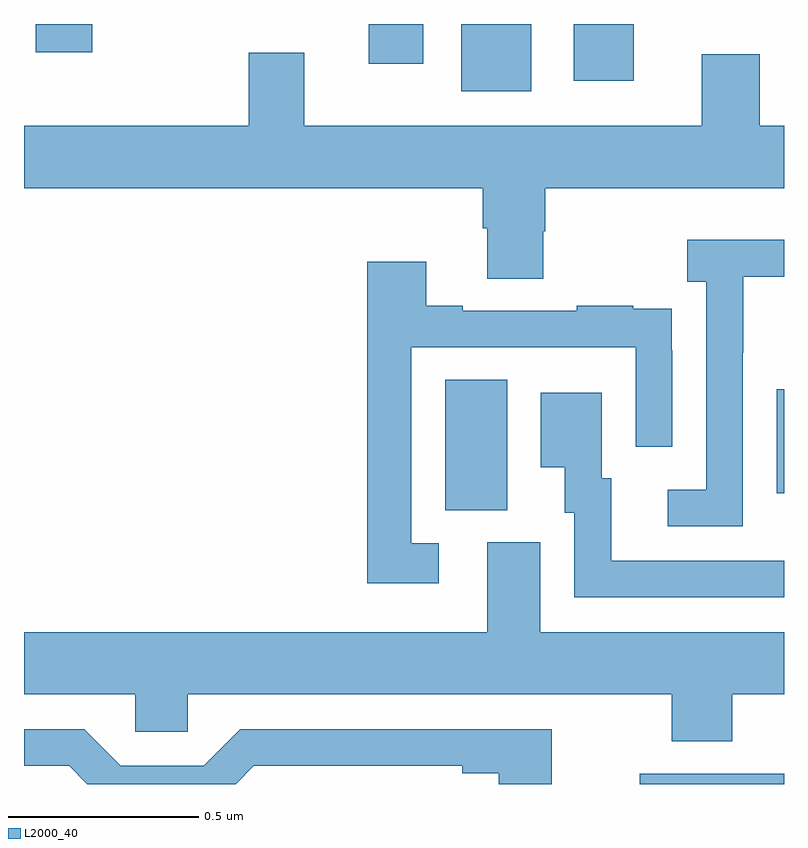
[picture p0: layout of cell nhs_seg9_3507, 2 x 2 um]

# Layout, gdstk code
import gdstk
lib = gdstk.Library(unit=1e-6, precision=1e-09)
def R(c, l, rs):  # rectangles x0, y0, x1, y1
    for r in rs: c.add(gdstk.rectangle(r[:2], r[2:], *l))
def P(c, l, *ps):  # polygons
    for p in ps: c.add(gdstk.Polygon(p, *l))
L2000_40 = (2000, 40)

nhs_seg9_3507 = lib.new_cell('nhs_seg9_3507')
R(nhs_seg9_3507, L2000_40, [(155.62,1213.5,156,1213.527), (155.108,1214.221,155.272,1214.564), (155.981,1214.265,156,1214.539), (155.15,1215.323,155.335,1215.5), (155.447,1215.351,155.605,1215.5), (154.907,1215.396,155.05,1215.5), (154.031,1215.426,154.18,1215.5)])
P(nhs_seg9_3507, L2000_40, [(155.367,1214.955),(155.372,1214.955),(155.372,1215.068),(156,1215.068),(156,1215.232),(155.936,1215.232),(155.936,1215.421),(155.783,1215.421),(155.783,1215.232),(154.738,1215.232),(154.738,1215.424),(154.591,1215.424),(154.591,1215.232),(154,1215.232),(154,1215.068),(155.207,1215.068),(155.207,1214.962),(155.219,1214.962),(155.219,1214.83),(155.367,1214.83)],
  [(155.892,1214.635),(155.893,1214.635),(155.893,1214.835),(156,1214.835),(156,1214.932),(155.745,1214.932),(155.745,1214.822),(155.796,1214.822),(155.796,1214.274),(155.694,1214.274),(155.694,1214.178),(155.892,1214.178)],
  [(155.092,1214.133),(155.019,1214.133),(155.019,1214.649),(155.61,1214.649),(155.61,1214.388),(155.706,1214.388),(155.706,1214.642),(155.705,1214.642),(155.705,1214.751),(155.603,1214.751),(155.603,1214.758),(155.455,1214.758),(155.455,1214.745),(155.155,1214.745),(155.155,1214.758),(155.059,1214.758),(155.059,1214.875),(154.903,1214.875),(154.903,1214.028),(155.092,1214.028)],
  [(156,1214.088),(155.545,1214.088),(155.545,1214.304),(155.521,1214.304),(155.521,1214.53),(155.36,1214.53),(155.36,1214.333),(155.423,1214.333),(155.423,1214.214),(155.448,1214.214),(155.448,1213.992),(156,1213.992)],
  [(155.864,1213.736),(156,1213.736),(156,1213.9),(155.359,1213.9),(155.359,1214.136),(155.219,1214.136),(155.219,1213.9),(154,1213.9),(154,1213.736),(154.293,1213.736),(154.293,1213.638),(154.431,1213.638),(154.431,1213.736),(155.704,1213.736),(155.704,1213.612),(155.864,1213.612)],
  [(154.605,1213.548),(155.153,1213.548),(155.153,1213.528),(155.249,1213.528),(155.249,1213.5),(155.389,1213.5),(155.389,1213.644),(154.569,1213.644),(154.473,1213.548),(154.255,1213.548),(154.159,1213.644),(154,1213.644),(154,1213.548),(154.119,1213.548),(154.167,1213.5),(154.557,1213.5)])

lib.write_gds('nhs_seg9_3507.gds')
